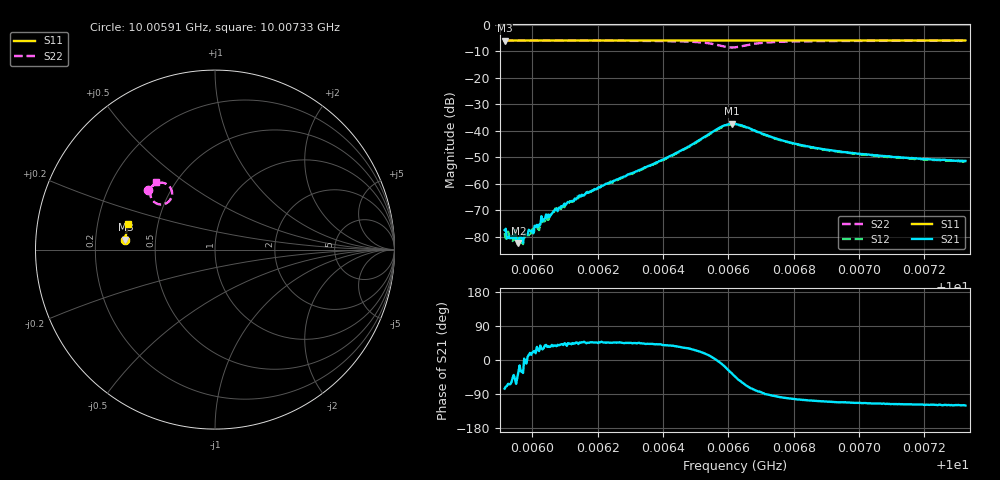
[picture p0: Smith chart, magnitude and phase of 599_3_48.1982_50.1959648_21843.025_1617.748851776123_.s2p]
#  HZ  S  RI  R  50.00
! Rohde & Schwarz Vector Network Analyzer
! Rohde-Schwarz,ZNB20-2Port,1311601062101988,3.16
! Created: UTC 3/20/2024, 12:02:56 PM
! freq[Hz]  re:S11  im:S11  re:S21  im:S21  re:S12  im:S12  re:S22  im:S22
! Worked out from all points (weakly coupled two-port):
!   401 points, 10.00591 GHz to 10.00733 GHz, reference 50 ohm
!   highest |S21| = -37.43 dB at 10.00661 GHz (marker M1); lowest = -82.4 dB at 10.00596 GHz (marker M2)
!   lowest |S11| = -6.0 dB at 10.00591 GHz (marker M3), VSWR 3.02, Z = 16.6 + j2.47 ohm
!   |S11| at or under -10 dB: nowhere
!   |S22| runs from -8.6 to -6.0 dB; largest |S21 - S12| = 0.00099
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1.0005915e10  -0.499 0.0556  3.3e-05 -0.000128  2.06e-05 -0.000114  -0.3724 0.3307
1.0005929e10  -0.499 0.0563  4.07e-05 -8.38e-05  3.83e-05 -9.83e-05  -0.3716 0.3318
1.0005939e10  -0.499 0.057  7.31e-05 -7.64e-05  6.31e-05 -5.28e-05  -0.3711 0.3323
1.0005957e10  -0.4989 0.0583  6.47e-05 -3.89e-05  0.000102 -1.5e-05  -0.37 0.3336
1.0005989e10  -0.4986 0.0604  0.00013 3.17e-05  0.000105 2.01e-06  -0.3683 0.3354
1.0006006e10  -0.4987 0.0615  0.000146 6.42e-05  0.000118 5.21e-05  -0.3674 0.3368
1.0006017e10  -0.4986 0.0622  0.000132 6.63e-05  0.000125 6.28e-05  -0.3666 0.3373
1.0006035e10  -0.4984 0.0635  0.000178 0.000109  0.000145 0.000125  -0.3656 0.3386
1.0006045e10  -0.4983 0.0641  0.000186 0.000128  0.000172 0.000123  -0.365 0.3392
1.0006077e10  -0.4983 0.0662  0.000231 0.000193  0.00024 0.000222  -0.3628 0.3414
1.0006095e10  -0.498 0.0672  0.000301 0.000248  0.00028 0.000246  -0.3618 0.3426
1.0006151e10  -0.4976 0.071  0.000421 0.000447  0.000382 0.000453  -0.3576 0.3467
1.0006387e10  -0.4956 0.0863  0.00199 0.00175  0.00188 0.00172  -0.3299 0.3668
1.0006532e10  -0.4937 0.0958  0.00769 0.00218  0.00735 0.00249  -0.2692 0.3647
1.0006581e10  -0.4925 0.0984  0.0119 -0.00245  0.0116 -0.00176  -0.2389 0.3148
1.0006609e10  -0.4922 0.0998  0.0111 -0.00763  0.0111 -0.00679  -0.256 0.2695
1.000662e10  -0.4921 0.1003  0.00967 -0.00913  0.00986 -0.00841  -0.2712 0.258
1.0006698e10  -0.4922 0.1052  0.000948 -0.00905  0.00121 -0.00893  -0.3525 0.2819
1.0006768e10  -0.4916 0.1096  -0.00106 -0.00634  -0.00069 -0.00634  -0.3606 0.3148
1.0006856e10  -0.4905 0.1156  -0.00146 -0.00462  -0.00118 -0.00461  -0.3564 0.3362
1.0007092e10  -0.4874 0.1305  -0.00142 -0.00293  -0.00126 -0.00294  -0.3411 0.3628
1.0007325e10  -0.4838 0.1451  -0.00135 -0.00231  -0.00118 -0.00234  -0.3278 0.3783
